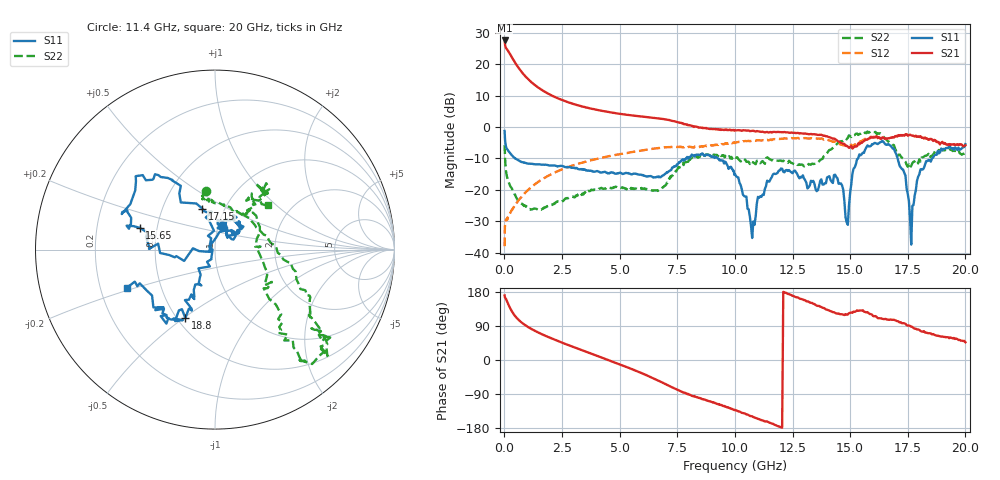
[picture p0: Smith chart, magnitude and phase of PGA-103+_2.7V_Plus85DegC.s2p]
!Mini-Circuits Laboratory
!S-Parameters, Port extension performed
!Model: PGA-103+
!Run / Lot / Date Code: N/A / BP170-001-01-101EV / 1210
!Fixture: TB-313
!Network Analyzer: PNA-X N5242A - 423 4 ports;  Serial number: 71013
!Date: 5/24/2012 at 5:33:09 PM
!S/N: Unit# 1
!Tested with: Vdd=2.7V at 85C
# Hz  S  dB  R  50
!Frequency  S11 dB  S11 Deg  S21 dB  S21 Deg  S12 dB  S12 Deg  S22 dB  S22 Deg
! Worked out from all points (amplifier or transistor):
!   660 points, 10 MHz to 20 GHz, reference 50 ohm
!   highest |S21| = 27.6 dB at 10 MHz (marker M1)
!   |S21| within 3 dB of that: start of sweep to 130.7 MHz
!   unconditionally stable (mu >= 1): 392.8 MHz to 15.19 GHz; 16.78 GHz to end of sweep
!   at 1.275 GHz: K = 1.09, MAG = 14.2 dB, |S12| = -18.5 dB
!   at 6.775 GHz: K = 1.07, MAG = 3.0 dB, |S12| = -6.6 dB
!   at 20 GHz: K = 1.47, MAG = -4.1 dB, |S12| = -5.8 dB
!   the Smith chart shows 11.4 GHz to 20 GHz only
!   S11 on the Smith chart (normalised r, x): 11.4 GHz: 1.05, +0.29; 15.65 GHz: 0.40, +0.12; 17.15 GHz: 0.79, +0.38; 18.8 GHz: 0.55, -0.51; 20 GHz: 0.32, -0.19
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1e7  -1.26 -17.7  27.55 170.3  -37.92 57.3  -5.81 -24.1
5e7  -5.41 -30.9  25.53 162.9  -30.40 30.9  -12.35 -43.7
7e7  -6.21 -32.9  25.19 161.1  -29.62 25.2  -13.97 -43.3
2.1e8  -7.96 -59.5  23.64 141.6  -27.83 32.9  -18.02 -50.4
3.5e8  -9.17 -83.5  21.89 125.9  -26.13 40.1  -19.90 -62.4
5.3e8  -10.24 -108.0  19.74 111.4  -24.15 46.0  -22.62 -70.3
7.7e8  -11.18 -131.4  17.32 97.8  -21.93 49.6  -24.45 -83.4
1.15e9  -11.68 -154.1  14.41 82.7  -19.22 50.5  -26.26 -91.6
1.725e9  -12.01 -176.0  11.35 65.4  -16.24 46.5  -25.59 -103.0
3.35e9  -13.51 148.0  6.56 26.0  -11.40 23.9  -21.62 -107.5
6.675e9  -15.98 55.0  2.76 -54.4  -6.67 -44.2  -20.15 160.5
1.005e10  -15.67 -76.2  -1.07 -133.0  -4.91 -123.3  -9.80 72.4
1.075e10  -35.31 3.3  -1.22 -148.8  -4.34 -139.8  -11.18 86.8
1.14e10  -17.06 72.7  -1.54 -162.2  -4.08 -154.3  -9.65 99.1
1.335e10  -17.38 46.6  -2.31 150.6  -3.62 157.1  -11.67 41.6
1.485e10  -30.32 -174.2  -5.94 119.6  -6.06 129.8  -3.91 -34.9
1.565e10  -7.20 163.8  -4.20 126.6  -3.78 128.4  -1.74 -40.1
1.67e10  -5.66 127.2  -3.58 106.0  -3.53 106.2  -4.72 -50.7
1.715e10  -12.43 107.2  -2.78 99.1  -2.77 99.4  -8.76 -29.6
1.765e10  -37.41 -178.1  -2.64 88.1  -2.66 87.9  -12.35 14.8
1.88e10  -7.63 -113.4  -4.72 64.2  -4.75 64.1  -7.41 53.7
2e10  -5.46 -156.6  -5.81 46.9  -5.85 46.9  -8.31 39.8
